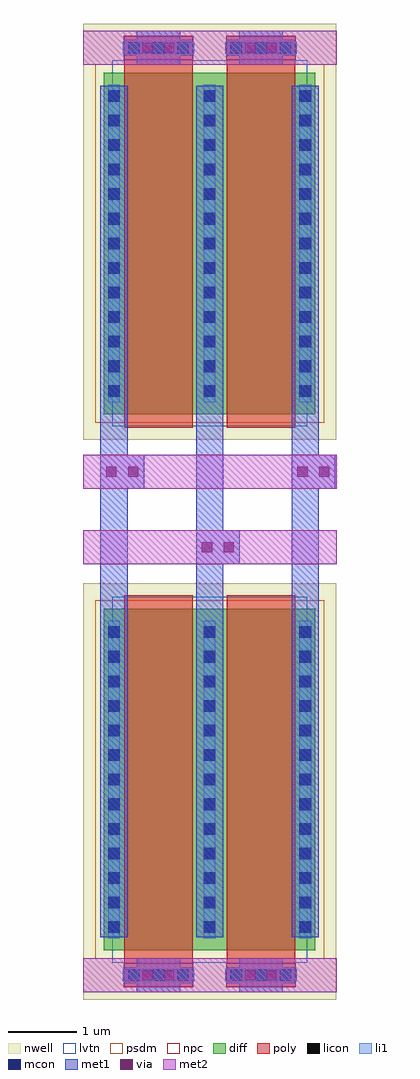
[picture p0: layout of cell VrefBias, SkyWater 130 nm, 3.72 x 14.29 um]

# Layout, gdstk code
from math import pi, radians
import gdstk
lib = gdstk.Library(unit=1e-6, precision=5e-09)
def R(c, l, rs):  # rectangles x0, y0, x1, y1
    for r in rs: c.add(gdstk.rectangle(r[:2], r[2:], *l))
def A(c, l, x, y, w, h, nx, ny, dx, dy):  # array of equal rectangles
    R(c, l, [(x+i*dx, y+j*dy, x+i*dx+w, y+j*dy+h) for i in range(nx) for j in range(ny)])
nwell = (64, 20)
diff = (65, 20)
poly = (66, 20)
licon = (66, 44)
li1 = (67, 20)
mcon = (67, 44)
met1 = (68, 20)
via = (68, 44)
met2 = (69, 20)
psdm = (94, 20)
npc = (95, 20)
lvtn = (125, 44)

pfet = lib.new_cell('pfet')
R(pfet, nwell, [(-0.305,-0.38,3.405,5.72)])
R(pfet, diff, [(0,0,3.1,5)])
R(pfet, poly, [(0.3,-0.2,1.3,5.2), (1.8,-0.2,2.8,5.2), (0.3,5.2,1.3,5.53), (1.8,5.2,2.8,5.53)])
A(pfet, licon, 0.065, 0.255, 0.17, 0.17, 3, 13, 1.4, 0.36)
A(pfet, licon, 0.355, 5.28, 0.17, 0.17, 3, 1, 0.36, 0)
A(pfet, licon, 1.855, 5.28, 0.17, 0.17, 3, 1, 0.36, 0)
A(pfet, li1, 0.065, 0.175, 0.17, 4.65, 3, 1, 1.4, 0)
R(pfet, li1, [(0.275,5.28,1.325,5.45), (1.775,5.28,2.825,5.45)])
A(pfet, mcon, 0.065, 0.255, 0.17, 0.17, 3, 13, 1.4, 0.36)
A(pfet, mcon, 0.355, 5.28, 0.17, 0.17, 3, 1, 0.36, 0)
A(pfet, mcon, 1.855, 5.28, 0.17, 0.17, 3, 1, 0.36, 0)
A(pfet, met1, 0.035, 0.195, 0.23, 4.61, 3, 1, 1.4, 0)
R(pfet, met1, [(0.295,5.25,1.305,5.48), (1.795,5.25,2.805,5.48)])
R(pfet, psdm, [(-0.125,-0.125,3.225,5.125)])
R(pfet, npc, [(0.29,5.19,1.31,5.54), (1.79,5.19,2.81,5.54)])
R(pfet, lvtn, [(0.12,-0.18,2.98,5.18)])

vias_gen = lib.new_cell('vias_gen')
R(vias_gen, met1, [(0,0,0.64,0.5)])
R(vias_gen, via, [(0.085,0.175,0.235,0.325), (0.405,0.175,0.555,0.325)])
R(vias_gen, met2, [(0,0,0.64,0.5)])

vrefbias = lib.new_cell('VrefBias')
vrefbias.add(gdstk.FlexPath([(14.15,11.255),(10.43,11.255)], 0.5, ends="flush", simple_path=True, layer=69, datatype=20))  # met2
vrefbias.add(gdstk.FlexPath([(14.15,10.15),(10.43,10.15)], 0.5, ends="flush", simple_path=True, layer=69, datatype=20))  # met2
vrefbias.add(gdstk.FlexPath([(14.15,3.88),(10.43,3.88)], 0.5, ends="flush", simple_path=True, layer=69, datatype=20))  # met2
vrefbias.add(gdstk.FlexPath([(14.15,17.465),(10.43,17.465)], 0.5, ends="flush", simple_path=True, layer=69, datatype=20))  # met2
vrefbias.add(gdstk.FlexPath([(10.885,16.905),(10.885,4.44)], 0.4, ends="flush", simple_path=True, layer=68, datatype=20))  # met1
vrefbias.add(gdstk.FlexPath([(12.285,16.905),(12.285,4.44)], 0.4, ends="flush", simple_path=True, layer=68, datatype=20))  # met1
vrefbias.add(gdstk.FlexPath([(13.685,16.905),(13.685,4.44)], 0.4, ends="flush", simple_path=True, layer=68, datatype=20))  # met1
vrefbias.add(gdstk.Reference(pfet, (10.735,12.1)))
vrefbias.add(gdstk.Reference(pfet, (13.835,9.245), rotation=pi))
vrefbias.add(gdstk.Reference(vias_gen, (10.685,11.005)))
vrefbias.add(gdstk.Reference(vias_gen, (13.485,11.005)))
vrefbias.add(gdstk.Reference(vias_gen, (12.085,9.9)))
vrefbias.add(gdstk.Reference(vias_gen, (11.215,17.215)))
vrefbias.add(gdstk.Reference(vias_gen, (12.715,17.215)))
vrefbias.add(gdstk.Reference(vias_gen, (11.215,3.63)))
vrefbias.add(gdstk.Reference(vias_gen, (12.715,3.63)))

lib.write_gds('VrefBias.gds')
